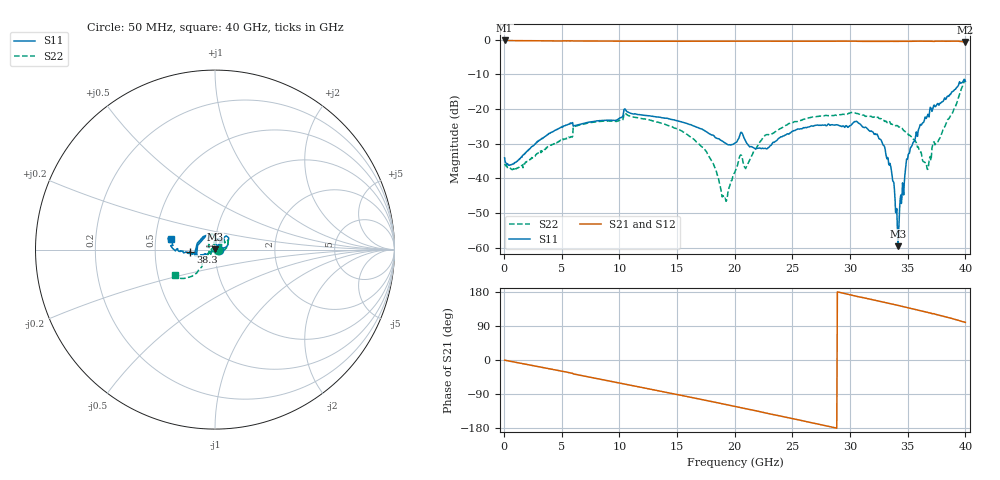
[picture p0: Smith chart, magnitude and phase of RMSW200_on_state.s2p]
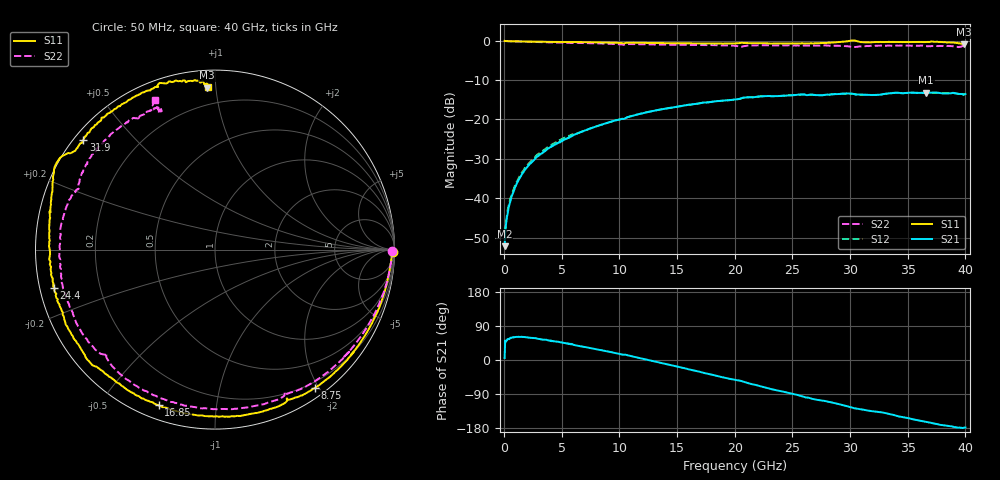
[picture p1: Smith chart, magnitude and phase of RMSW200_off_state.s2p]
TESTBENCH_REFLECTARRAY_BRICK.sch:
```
<Qucs Schematic 0.0.15>
<Properties>
  <View=-200,116,2284,753,0.392512,0,0>
  <Grid=10,10,1>
  <DataSet=TESTBENCH_REFLECTARRAY_BRICK.dat>
  <DataDisplay=TESTBENCH_REFLECTARRAY_BRICK.dpl>
  <OpenDisplay=1>
  <showFrame=0>
  <FrameText0=Title>
  <FrameText1=Drawn By:>
  <FrameText2=Date:>
  <FrameText3=Revision:>
</Properties>
<Symbol>
  <.ID -20 -16 SPDT>
  <Line -20 20 40 0 #000080 2 1>
  <Line 20 20 0 -40 #000080 2 1>
  <Line -20 -20 40 0 #000080 2 1>
  <Line -20 20 0 -40 #000080 2 1>
</Symbol>
<Components>
  <GND * 1 -140 360 0 0 0 0>
  <GND * 1 -20 360 0 0 0 0>
  <GND * 1 40 360 0 0 0 0>
  <Tr DETSA 1 10 330 -29 38 0 0 "2" 1>
  <Pac P1 1 -140 330 18 -26 0 1 "1" 0 "188.5 Ohm" 1 "0 dBm" 0 "1 GHz" 0 "26.85" 0>
  <GND * 1 210 430 0 0 0 0>
  <GND * 1 210 230 0 0 0 0>
  <L L1 5 150 200 -26 10 0 0 "L" 1 "" 0>
  <L L2 5 270 200 -26 10 0 0 "L" 1 "" 0>
  <TLIN Line2 5 330 300 -26 20 0 0 "Z" 1 "LENGTH" 1 "0 dB" 0 "26.85" 0>
  <L L6 5 270 400 -26 10 0 0 "L" 1 "" 0>
  <L L5 5 150 400 -26 10 0 0 "L" 1 "" 0>
  <SPfile X1 5 210 200 -26 -44 0 0 "RMSW200_on_state.s2p" 1 "rectangular" 0 "linear" 0 "open" 0 "2" 0>
  <SPfile X3 5 210 400 -26 -44 0 0 "RMSW200_on_state.s2p" 1 "rectangular" 0 "linear" 0 "open" 0 "2" 0>
  <GND * 1 450 430 0 0 0 0>
  <GND * 1 450 230 0 0 0 0>
  <L L7 5 390 200 -26 10 0 0 "L" 1 "" 0>
  <L L8 5 510 200 -26 10 0 0 "L" 1 "" 0>
  <TLIN Line3 5 570 300 -26 20 0 0 "Z" 1 "LENGTH" 1 "0 dB" 0 "26.85" 0>
  <L L9 5 510 400 -26 10 0 0 "L" 1 "" 0>
  <L L10 5 390 400 -26 10 0 0 "L" 1 "" 0>
  <SPfile X4 5 450 200 -26 -44 0 0 "RMSW200_on_state.s2p" 1 "rectangular" 0 "linear" 0 "open" 0 "2" 0>
  <SPfile X5 5 450 400 -26 -44 0 0 "RMSW200_on_state.s2p" 1 "rectangular" 0 "linear" 0 "open" 0 "2" 0>
  <GND * 1 690 430 0 0 0 0>
  <GND * 1 690 230 0 0 0 0>
  <L L11 5 630 200 -26 10 0 0 "L" 1 "" 0>
  <L L12 5 750 200 -26 10 0 0 "L" 1 "" 0>
  <TLIN Line4 5 810 300 -26 20 0 0 "Z" 1 "LENGTH" 1 "0 dB" 0 "26.85" 0>
  <L L13 5 750 400 -26 10 0 0 "L" 1 "" 0>
  <L L14 5 630 400 -26 10 0 0 "L" 1 "" 0>
  <SPfile X6 5 690 200 -26 -44 0 0 "RMSW200_on_state.s2p" 1 "rectangular" 0 "linear" 0 "open" 0 "2" 0>
  <SPfile X7 5 690 400 -26 -44 0 0 "RMSW200_on_state.s2p" 1 "rectangular" 0 "linear" 0 "open" 0 "2" 0>
  <GND * 1 930 430 0 0 0 0>
  <GND * 1 930 230 0 0 0 0>
  <L L15 5 870 200 -26 10 0 0 "L" 1 "" 0>
  <L L16 5 990 200 -26 10 0 0 "L" 1 "" 0>
  <TLIN Line5 5 1050 300 -26 20 0 0 "Z" 1 "LENGTH" 1 "0 dB" 0 "26.85" 0>
  <L L17 5 990 400 -26 10 0 0 "L" 1 "" 0>
  <L L18 5 870 400 -26 10 0 0 "L" 1 "" 0>
  <GND * 1 1170 430 0 0 0 0>
  <GND * 1 1170 230 0 0 0 0>
  <L L19 5 1110 200 -26 10 0 0 "L" 1 "" 0>
  <L L20 5 1230 200 -26 10 0 0 "L" 1 "" 0>
  <TLIN Line6 5 1290 300 -26 20 0 0 "Z" 1 "LENGTH" 1 "0 dB" 0 "26.85" 0>
  <L L21 5 1230 400 -26 10 0 0 "L" 1 "" 0>
  <L L22 5 1110 400 -26 10 0 0 "L" 1 "" 0>
  <SPfile X10 5 1170 200 -26 -44 0 0 "RMSW200_on_state.s2p" 1 "rectangular" 0 "linear" 0 "open" 0 "2" 0>
  <SPfile X11 5 1170 400 -26 -44 0 0 "RMSW200_on_state.s2p" 1 "rectangular" 0 "linear" 0 "open" 0 "2" 0>
  <GND * 1 1410 430 0 0 0 0>
  <GND * 1 1410 230 0 0 0 0>
  <L L23 5 1350 200 -26 10 0 0 "L" 1 "" 0>
  <L L24 5 1470 200 -26 10 0 0 "L" 1 "" 0>
  <TLIN Line7 5 1530 300 -26 20 0 0 "Z" 1 "LENGTH" 1 "0 dB" 0 "26.85" 0>
  <L L25 5 1470 400 -26 10 0 0 "L" 1 "" 0>
  <L L26 5 1350 400 -26 10 0 0 "L" 1 "" 0>
  <SPfile X12 5 1410 200 -26 -44 0 0 "RMSW200_on_state.s2p" 1 "rectangular" 0 "linear" 0 "open" 0 "2" 0>
  <SPfile X13 5 1410 400 -26 -44 0 0 "RMSW200_on_state.s2p" 1 "rectangular" 0 "linear" 0 "open" 0 "2" 0>
  <GND * 1 1650 430 0 0 0 0>
  <GND * 1 1650 230 0 0 0 0>
  <L L27 5 1590 200 -26 10 0 0 "L" 1 "" 0>
  <L L28 5 1710 200 -26 10 0 0 "L" 1 "" 0>
  <TLIN Line8 5 1770 300 -26 20 0 0 "Z" 1 "LENGTH" 1 "0 dB" 0 "26.85" 0>
  <L L29 5 1710 400 -26 10 0 0 "L" 1 "" 0>
  <L L30 5 1590 400 -26 10 0 0 "L" 1 "" 0>
  <SPfile X14 5 1650 200 -26 -44 0 0 "RMSW200_on_state.s2p" 1 "rectangular" 0 "linear" 0 "open" 0 "2" 0>
  <SPfile X15 5 1650 400 -26 -44 0 0 "RMSW200_on_state.s2p" 1 "rectangular" 0 "linear" 0 "open" 0 "2" 0>
  <GND * 1 1890 430 0 0 0 0>
  <GND * 1 1890 230 0 0 0 0>
  <L L31 5 1830 200 -26 10 0 0 "L" 1 "" 0>
  <L L32 5 1950 200 -26 10 0 0 "L" 1 "" 0>
  <L L33 5 1950 400 -26 10 0 0 "L" 1 "" 0>
  <L L34 5 1830 400 -26 10 0 0 "L" 1 "" 0>
  <GND * 1 2120 370 0 0 0 0>
  <Pac P2 1 2120 340 18 -26 0 1 "2" 1 "47.125 Ohm" 1 "0 dBm" 0 "1 GHz" 0 "26.85" 0>
  <TLIN Line1 5 90 300 -26 20 0 0 "Z" 1 "HALFLENGTH" 1 "0 dB" 0 "26.85" 0>
  <TLIN Line9 5 2010 300 -26 20 0 0 "Z" 1 "HALFLENGTH" 1 "0 dB" 0 "26.85" 0>
  <Eqn Eqn1 1 190 490 -32 17 0 0 "Z=60" 1 "L=0.5e-9" 1 "LENGTH=3.5e-3" 1 "HALFLENGTH=LENGTH/2" 1 "yes" 0>
  <.DC DC1 1 -150 480 0 46 0 0 "26.85" 0 "0.001" 0 "1 pA" 0 "1 uV" 0 "no" 0 "150" 0 "no" 0 "none" 0 "CroutLU" 0>
  <.SP SP1 1 20 480 0 78 0 0 "lin" 1 "0.1 GHz" 1 "10 GHz" 1 "9901" 1 "yes" 1 "1" 0 "2" 0 "no" 0 "no" 0>
  <Eqn Eqn2 1 380 490 -32 17 0 0 "S11_dB=dB(S[1,1])" 1 "S11_Deg=rad2deg(unwrap(phase(S[1,1])))" 1 "S12_dB=dB(S[1,2])" 1 "S12_Deg=rad2deg(unwrap(phase(S[1,2])))" 1 "S21_dB=dB(S[2,1])" 1 "S21_Deg=rad2deg(unwrap(phase(S[2,1])))" 1 "S22_dB=dB(S[2,2])" 1 "S22_Deg=rad2deg(unwrap(phase(S[2,2])))" 1 "yes" 0>
  <SPfile X8 5 930 200 -26 -44 0 0 "RMSW200_off_state.s2p" 1 "rectangular" 0 "linear" 0 "open" 0 "2" 0>
  <SPfile X9 5 930 400 -26 -44 0 0 "RMSW200_off_state.s2p" 1 "rectangular" 0 "linear" 0 "open" 0 "2" 0>
  <SPfile X16 5 1890 200 -26 -44 0 0 "RMSW200_on_state.s2p" 1 "rectangular" 0 "linear" 0 "open" 0 "2" 0>
  <SPfile X17 5 1890 400 -26 -44 0 0 "RMSW200_on_state.s2p" 1 "rectangular" 0 "linear" 0 "open" 0 "2" 0>
</Components>
<Wires>
  <-140 300 -20 300 "" 0 0 0 "">
  <40 300 60 300 "" 0 0 0 "">
  <300 200 300 300 "" 0 0 0 "">
  <120 200 120 300 "" 0 0 0 "">
  <120 300 120 400 "" 0 0 0 "">
  <300 300 300 400 "" 0 0 0 "">
  <540 200 540 300 "" 0 0 0 "">
  <360 200 360 300 "" 0 0 0 "">
  <360 300 360 400 "" 0 0 0 "">
  <540 300 540 400 "" 0 0 0 "">
  <780 200 780 300 "" 0 0 0 "">
  <600 200 600 300 "" 0 0 0 "">
  <600 300 600 400 "" 0 0 0 "">
  <780 300 780 400 "" 0 0 0 "">
  <1020 200 1020 300 "" 0 0 0 "">
  <840 200 840 300 "" 0 0 0 "">
  <840 300 840 400 "" 0 0 0 "">
  <1020 300 1020 400 "" 0 0 0 "">
  <1260 200 1260 300 "" 0 0 0 "">
  <1080 200 1080 300 "" 0 0 0 "">
  <1080 300 1080 400 "" 0 0 0 "">
  <1260 300 1260 400 "" 0 0 0 "">
  <1500 200 1500 300 "" 0 0 0 "">
  <1320 200 1320 300 "" 0 0 0 "">
  <1320 300 1320 400 "" 0 0 0 "">
  <1500 300 1500 400 "" 0 0 0 "">
  <1740 200 1740 300 "" 0 0 0 "">
  <1560 200 1560 300 "" 0 0 0 "">
  <1560 300 1560 400 "" 0 0 0 "">
  <1740 300 1740 400 "" 0 0 0 "">
  <1980 200 1980 300 "" 0 0 0 "">
  <1800 200 1800 300 "" 0 0 0 "">
  <1800 300 1800 400 "" 0 0 0 "">
  <1980 300 1980 400 "" 0 0 0 "">
  <1980 300 2040 300 "" 0 0 0 "">
  <2040 300 2120 300 "" 0 0 0 "">
  <2120 300 2120 310 "" 0 0 0 "">
</Wires>
<Diagrams>
</Diagrams>
<Paintings>
  <Text 680 480 6 #000000 0 "Differential-Mode Half-Circuit of an UWB RF MEMS Reflect Array Brick\nRF MEMS for Radar Tutorial\nK. Van Caekenberghe\nIEEE International Radar Conference, Washington D.C., May 14, 2010\n(Tested on Qucs 0.0.15)">
  <Text 680 580 12 #000000 0 "- P1 is a free space port with a source impedance of 377 Ohm differential and 188.5 Ohm differential-mode half-circuit.\n- P2 is for test purposes only and may equally well be removed.\n- The transformer represents the differential-mode half-circuit of the double exponentially tapered slot antenna (DETSA).\n- The reflection time delay can be increased by moving an open-circuit from the antenna to the end of the TTD phase shifter.\n- The Touchstone files represent Radant RMSW200 RF MEMS SPST swiches. (ON: RMSW200_on_state.s2p, OFF:RMSW200_off_state.s2p).">
</Paintings>
```
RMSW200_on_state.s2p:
! Touchstone file from project SPST_2c_spar
# GHZ S MA R 50.000000
! Modal data exported
! Port[1] = Port1
! Port[2] = Port2
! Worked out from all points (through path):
!   800 points, 50 MHz to 40 GHz, reference 50 ohm
!   highest |S21| = -0.21 dB at 50 MHz (marker M1); lowest = -0.7 dB at 40 GHz (marker M2)
!   group delay of S21, straight-line fit = 17.8 ps
!   lowest |S11| = -59.6 dB at 34.15 GHz (marker M3), VSWR 1.00, Z = 50.1 + j0.0709 ohm
!   |S11| at or under -10 dB: start of sweep to end of sweep
!   |S22| runs from -46.6 to -11.6 dB; largest |S21 - S12| = 0.0097
!   S11 on the Smith chart (normalised r, x): 50 MHz: 1.04, -0.00; 38.3 GHz: 0.76, -0.02; 40 GHz: 0.60, +0.08
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0.05  0.0198 -2.1  0.9767 -0.5  0.9795 -0.4  0.01613 -9.8
! Port Impedance 5.000000E+001 0.000000E+000 5.000000E+001 0.000000E+000
10.6  0.09404 36.5  0.9537 -64.4  0.9527 -64.4  0.08416 29.1
16.45  0.05677 11.1  0.9522 -100.0  0.9527 -100.0  0.03684 -11.0
19.1  0.03289 22.0  0.9546 -116.6  0.9544 -116.6  0.005138 24.9
20.05  0.03263 43.4  0.9572 -122.7  0.9557 -122.6  0.01278 71.0
30.65  0.06476 63.9  0.9501 167.3  0.9498 167.4  0.08613 97.4
32.85  0.03043 39.7  0.9473 153.0  0.946 153.0  0.06832 89.8
34.15  0.001051 42.4  0.9485 144.2  0.948 144.1  0.0569 92.3
36.6  0.07314 -157.7  0.9519 126.5  0.9519 126.6  0.01669 141.8
38.3  0.1377 -174.8  0.951 113.7  0.952 113.8  0.06004 -142.6
40  0.2511 166.3  0.9261 99.4  0.9251 99.5  0.2631 -147.1
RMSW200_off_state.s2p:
! Touchstone file from project SPST_2c_spar
# GHZ S MA R 50.000000
! Modal data exported
! Port[1] = Port1
! Port[2] = Port2
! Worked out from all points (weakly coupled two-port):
!   800 points, 50 MHz to 40 GHz, reference 50 ohm
!   highest |S21| = -13.18 dB at 36.6 GHz (marker M1); lowest = -52.2 dB at 50 MHz (marker M2)
!   lowest |S11| = -0.9 dB at 39.85 GHz (marker M3), VSWR 19.49, Z = 4.88 + j47.4 ohm
!   |S11| at or under -10 dB: nowhere
!   |S22| runs from -1.7 to -0.1 dB; largest |S21 - S12| = 0.0043
!   S11 on the Smith chart (normalised r, x): 50 MHz: open; 8.75 GHz: 0.12, -1.95; 16.85 GHz: 0.06, -0.70; 24.4 GHz: 0.04, -0.12; 31.9 GHz: 0.03, +0.36; 40 GHz: 0.10, +0.96
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0.05  0.9934 -0.7  0.002466 5.3  0.003752 88.9  0.9869 -0.4
! Port Impedance 5.000000E+001 0.000000E+000 5.000000E+001 0.000000E+000
0.65  0.982 -4.4  0.01048 58.5  0.01091 56.8  0.9828 -4.8
2.05  0.9744 -13.2  0.02534 59.7  0.0268 58.8  0.9696 -14.4
8.75  0.9512 -54.1  0.08858 24.0  0.08858 23.9  0.9175 -54.5
16.85  0.9231 -109.9  0.1594 -30.2  0.1594 -30.2  0.8813 -109.3
20.05  0.923 -133.2  0.1789 -52.4  0.1786 -52.4  0.8599 -133.5
24.4  0.9216 -166.8  0.2012 -85.0  0.2012 -84.9  0.8713 -164.2
31.9  0.9549 140.2  0.204 -135.0  0.2038 -135.0  0.8589 147.4
36.6  0.9617 111.1  0.2192 -163.1  0.2196 -162.9  0.8542 121.0
39.85  0.9024 92.8  0.2067 -178.7  0.2061 -178.6  0.859 113.0
40  0.904 92.3  0.2099 -178.1  0.2128 -177.8  0.895 111.8
